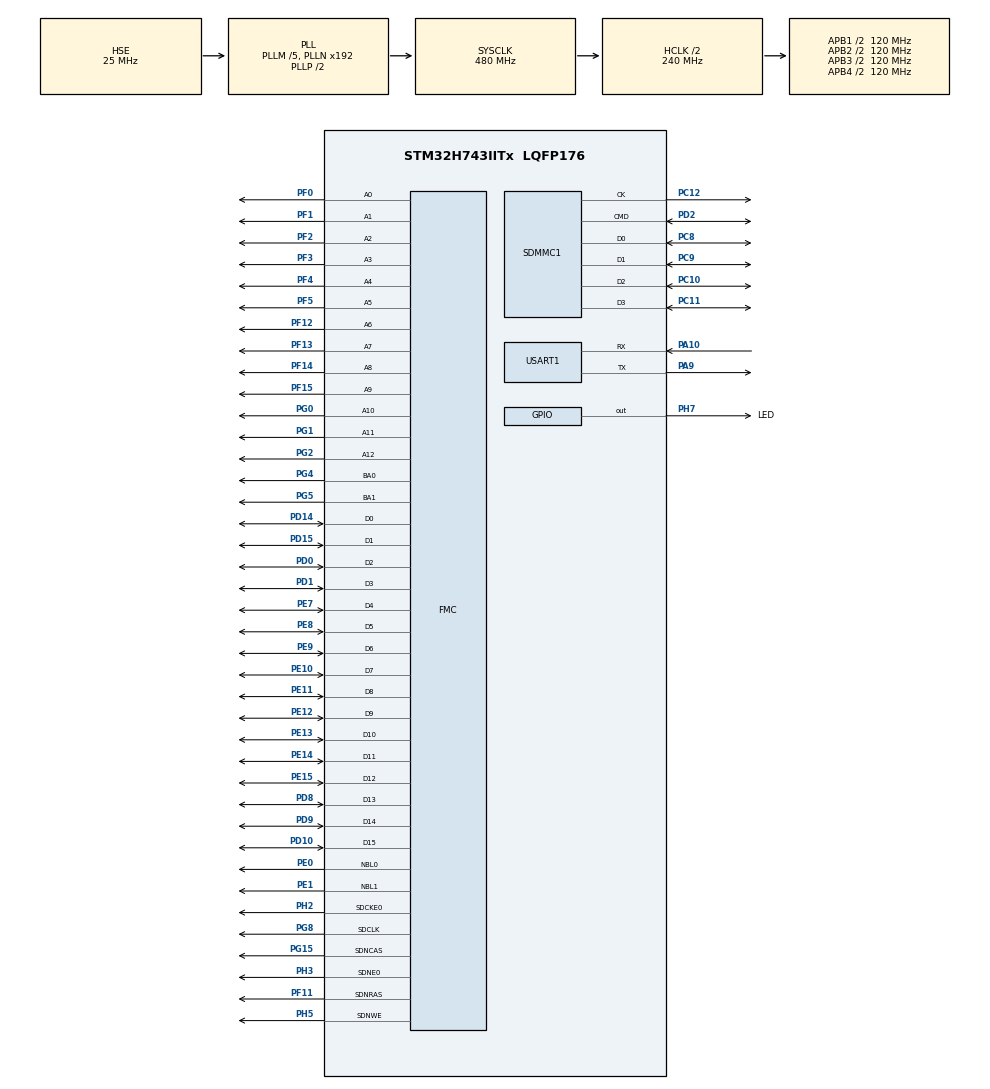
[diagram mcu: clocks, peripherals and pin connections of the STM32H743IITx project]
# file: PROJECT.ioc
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FATFS.USE_DMA_CODE_SD=1
FATFS._CODE_PAGE=936
FATFS._USE_LFN=2
FATFS._VOLUMES=1
FMC.CASLatency1=FMC_SDRAM_CAS_LATENCY_3
FMC.ColumnBitsNumber1=FMC_SDRAM_COLUMN_BITS_NUM_9
FMC.ExitSelfRefreshDelay1=7
FMC.LoadToActiveDelay1=2
FMC.RCDDelay1=2
FMC.RPDelay1=2
FMC.ReadBurst1=FMC_SDRAM_RBURST_ENABLE
FMC.ReadPipeDelay1=FMC_SDRAM_RPIPE_DELAY_1
FMC.RowCycleDelay1=7
FMC.RowCycleDelay2=7
FMC.SDClockPeriod1=FMC_SDRAM_CLOCK_PERIOD_2
FMC.SelfRefreshTime1=4
FMC.WriteRecoveryTime1=6
Mcu.Family=STM32H7
Mcu.Name=STM32H743IITx
Mcu.Package=LQFP176
Mdma.MDMA_Channel0.Request0=SDMMC1_END_DATA
Mdma.MDMA_Channel0.RequestsNb=1
Mdma.MDMA_Channel0.SDMMC1_END_DATA.0.BlockCount=0
Mdma.MDMA_Channel0.SDMMC1_END_DATA.0.BlockDataLength=0
Mdma.MDMA_Channel0.SDMMC1_END_DATA.0.BufferTransferLength=1
Mdma.MDMA_Channel0.SDMMC1_END_DATA.0.CircularMode=MDMA_LINEAR_LIST
Mdma.MDMA_Channel0.SDMMC1_END_DATA.0.DataAlignment=MDMA_DATAALIGN_PACKENABLE
Mdma.MDMA_Channel0.SDMMC1_END_DATA.0.DestBlockAddressOffset=0
Mdma.MDMA_Channel0.SDMMC1_END_DATA.0.DestBurst=MDMA_DEST_BURST_SINGLE
Mdma.MDMA_Channel0.SDMMC1_END_DATA.0.DestDataSize=MDMA_DEST_DATASIZE_BYTE
Mdma.MDMA_Channel0.SDMMC1_END_DATA.0.DestinationInc=MDMA_DEST_INC_BYTE
Mdma.MDMA_Channel0.SDMMC1_END_DATA.0.DstAddress=0
Mdma.MDMA_Channel0.SDMMC1_END_DATA.0.Endianness=MDMA_LITTLE_ENDIANNESS_PRESERVE
Mdma.MDMA_Channel0.SDMMC1_END_DATA.0.Instance=MDMA_Channel0
Mdma.MDMA_Channel0.SDMMC1_END_DATA.0.MaskAddress=0
Mdma.MDMA_Channel0.SDMMC1_END_DATA.0.MaskData=0
Mdma.MDMA_Channel0.SDMMC1_END_DATA.0.Priority=MDMA_PRIORITY_LOW
Mdma.MDMA_Channel0.SDMMC1_END_DATA.0.Rank=First
Mdma.MDMA_Channel0.SDMMC1_END_DATA.0.SourceBlockAddressOffset=0
Mdma.MDMA_Channel0.SDMMC1_END_DATA.0.SourceBurst=MDMA_SOURCE_BURST_SINGLE
Mdma.MDMA_Channel0.SDMMC1_END_DATA.0.SourceDataSize=MDMA_SRC_DATASIZE_BYTE
Mdma.MDMA_Channel0.SDMMC1_END_DATA.0.SourceInc=MDMA_SRC_INC_BYTE
Mdma.MDMA_Channel0.SDMMC1_END_DATA.0.SrcAddress=0
Mdma.MDMA_Channel0.SDMMC1_END_DATA.0.TransferTriggerMode=MDMA_BUFFER_TRANSFER
Mdma.RequestSet0=MDMA_Channel0
Mdma.RequestSetsNb=1
NVIC.MDMA_IRQn=true\:0\:0\:false\:false\:true\:false\:true\:true
NVIC.PriorityGroup=NVIC_PRIORITYGROUP_4
NVIC.SDMMC1_IRQn=true\:0\:0\:false\:false\:true\:true\:true\:true
NVIC.USART1_IRQn=true\:0\:0\:false\:false\:true\:true\:true\:true
PA10.Mode=Asynchronous
PA10.Signal=USART1_RX
PA13\ (JTMS/SWDIO).Mode=Serial_Wire
PA13\ (JTMS/SWDIO).Signal=DEBUG_JTMS-SWDIO
PA14\ (JTCK/SWCLK).Mode=Serial_Wire
PA14\ (JTCK/SWCLK).Signal=DEBUG_JTCK-SWCLK
PA9.Mode=Asynchronous
PA9.Signal=USART1_TX
PC10.GPIO_PuPd=GPIO_PULLUP
PC10.Mode=SD_4_bits_Wide_bus
PC10.Signal=SDMMC1_D2
PC11.GPIO_PuPd=GPIO_PULLUP
PC11.Mode=SD_4_bits_Wide_bus
PC11.Signal=SDMMC1_D3
PC12.GPIO_PuPd=GPIO_PULLUP
PC12.Mode=SD_4_bits_Wide_bus
PC12.Signal=SDMMC1_CK
PC8.GPIO_PuPd=GPIO_PULLUP
PC8.Mode=SD_4_bits_Wide_bus
PC8.Signal=SDMMC1_D0
PC9.GPIO_PuPd=GPIO_PULLUP
PC9.Mode=SD_4_bits_Wide_bus
PC9.Signal=SDMMC1_D1
PD0.Signal=FMC_D2_DA2
PD1.Signal=FMC_D3_DA3
PD10.Signal=FMC_D15_DA15
PD14.Signal=FMC_D0_DA0
PD15.Signal=FMC_D1_DA1
PD2.GPIO_PuPd=GPIO_PULLUP
PD2.Mode=SD_4_bits_Wide_bus
PD2.Signal=SDMMC1_CMD
PD8.Signal=FMC_D13_DA13
PD9.Signal=FMC_D14_DA14
PE0.Signal=FMC_NBL0
PE1.Signal=FMC_NBL1
PE10.Signal=FMC_D7_DA7
PE11.Signal=FMC_D8_DA8
PE12.Signal=FMC_D9_DA9
PE13.Signal=FMC_D10_DA10
PE14.Signal=FMC_D11_DA11
PE15.Signal=FMC_D12_DA12
PE7.Signal=FMC_D4_DA4
PE8.Signal=FMC_D5_DA5
PE9.Signal=FMC_D6_DA6
PF0.Signal=FMC_A0
PF1.Signal=FMC_A1
PF11.Signal=FMC_SDNRAS
PF12.Signal=FMC_A6
PF13.Signal=FMC_A7
PF14.Signal=FMC_A8
PF15.Signal=FMC_A9
PF2.Signal=FMC_A2
PF3.Signal=FMC_A3
PF4.Signal=FMC_A4
PF5.Signal=FMC_A5
PG0.Signal=FMC_A10
PG1.Signal=FMC_A11
PG15.Signal=FMC_SDNCAS
PG2.Signal=FMC_A12
PG4.Signal=FMC_A14_BA0
PG5.Signal=FMC_A15_BA1
PG8.Signal=FMC_SDCLK
PH0-OSC_IN\ (PH0).Mode=HSE-External-Oscillator
PH0-OSC_IN\ (PH0).Signal=RCC_OSC_IN
PH1-OSC_OUT\ (PH1).Mode=HSE-External-Oscillator
PH1-OSC_OUT\ (PH1).Signal=RCC_OSC_OUT
PH2.Mode=SdramChipSelect1_1
PH2.Signal=FMC_SDCKE0
PH3.Mode=SdramChipSelect1_1
PH3.Signal=FMC_SDNE0
PH5.Signal=FMC_SDNWE
PH7.GPIO_Label=LED
PH7.GPIO_PuPd=GPIO_PULLUP
PH7.GPIO_Speed=GPIO_SPEED_FREQ_VERY_HIGH
PH7.Signal=GPIO_Output
ProjectManager.HeapSize=0x1000
ProjectManager.StackSize=0x1000
ProjectManager.TargetToolchain=MDK-ARM V5.32
RCC.ADCFreq_Value=37500000
RCC.APB1Freq_Value=120000000
RCC.APB2Freq_Value=120000000
RCC.APB3Freq_Value=120000000
RCC.APB4Freq_Value=120000000
RCC.CortexFreq_Value=480000000
RCC.D1PPRE=RCC_APB3_DIV2
RCC.D2PPRE1=RCC_APB1_DIV2
RCC.D2PPRE2=RCC_APB2_DIV2
RCC.D3PPRE=RCC_APB4_DIV2
RCC.DIVM1=5
RCC.DIVM2=4
RCC.DIVN1=192
RCC.DIVN2=12
RCC.DIVQ1=4
RCC.DIVR2=4
RCC.FMCCLockSelection=RCC_FMCCLKSOURCE_PLL
RCC.HCLKFreq_Value=240000000
RCC.HPRE=RCC_HCLK_DIV2
RCC.PLL2FRACN=0
RCC.PLL3FRACN=0
RCC.PLLFRACN=0
RCC.PLLSourceVirtual=RCC_PLLSOURCE_HSE
RCC.SYSCLKFreq_VALUE=480000000
RCC.SYSCLKSource=RCC_SYSCLKSOURCE_PLLCLK
RCC.USBFreq_Value=240000000
SDMMC1.ClockDiv=8
SH.FMC_A0.0=FMC_A0,13b-sda1
SH.FMC_A1.0=FMC_A1,13b-sda1
SH.FMC_A10.0=FMC_A10,13b-sda1
SH.FMC_A11.0=FMC_A11,13b-sda1
SH.FMC_A12.0=FMC_A12,13b-sda1
SH.FMC_A14_BA0.0=FMC_BA0,FourSdramBanks1
SH.FMC_A15_BA1.0=FMC_BA1,FourSdramBanks1
SH.FMC_A2.0=FMC_A2,13b-sda1
SH.FMC_A3.0=FMC_A3,13b-sda1
SH.FMC_A4.0=FMC_A4,13b-sda1
SH.FMC_A5.0=FMC_A5,13b-sda1
SH.FMC_A6.0=FMC_A6,13b-sda1
SH.FMC_A7.0=FMC_A7,13b-sda1
SH.FMC_A8.0=FMC_A8,13b-sda1
SH.FMC_A9.0=FMC_A9,13b-sda1
SH.FMC_D0_DA0.0=FMC_D0,sd-16b-d1
SH.FMC_D10_DA10.0=FMC_D10,sd-16b-d1
SH.FMC_D11_DA11.0=FMC_D11,sd-16b-d1
SH.FMC_D12_DA12.0=FMC_D12,sd-16b-d1
SH.FMC_D13_DA13.0=FMC_D13,sd-16b-d1
SH.FMC_D14_DA14.0=FMC_D14,sd-16b-d1
SH.FMC_D15_DA15.0=FMC_D15,sd-16b-d1
SH.FMC_D1_DA1.0=FMC_D1,sd-16b-d1
SH.FMC_D2_DA2.0=FMC_D2,sd-16b-d1
SH.FMC_D3_DA3.0=FMC_D3,sd-16b-d1
SH.FMC_D4_DA4.0=FMC_D4,sd-16b-d1
SH.FMC_D5_DA5.0=FMC_D5,sd-16b-d1
SH.FMC_D6_DA6.0=FMC_D6,sd-16b-d1
SH.FMC_D7_DA7.0=FMC_D7,sd-16b-d1
SH.FMC_D8_DA8.0=FMC_D8,sd-16b-d1
SH.FMC_D9_DA9.0=FMC_D9,sd-16b-d1
SH.FMC_NBL0.0=FMC_NBL0,Sd2ByteEnable1
SH.FMC_NBL1.0=FMC_NBL1,Sd2ByteEnable1
SH.FMC_SDCLK.0=FMC_SDCLK,13b-sda1
SH.FMC_SDNCAS.0=FMC_SDNCAS,13b-sda1
SH.FMC_SDNRAS.0=FMC_SDNRAS,13b-sda1
SH.FMC_SDNWE.0=FMC_SDNWE,13b-sda1
USART1.VirtualMode-Asynchronous=VM_ASYNC
VP_FATFS_VS_SDIO.Mode=SDIO
board=custom

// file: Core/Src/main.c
/* USER CODE BEGIN Header */
/**
  ******************************************************************************
  * @file           : main.c
  * @brief          : Main program body
  ******************************************************************************
  * @attention
  *
  * Copyright (c) 2024 STMicroelectronics.
  * All rights reserved.
  *
  * This software is licensed under terms that can be found in the LICENSE file
  * in the root directory of this software component.
  * If no LICENSE file comes with this software, it is provided AS-IS.
  *
  ******************************************************************************
  */
/* USER CODE END Header */
#include "main.h"
#include "fatfs.h"
#include "mdma.h"
#include "sdmmc.h"
#include "usart.h"
#include "gpio.h"
#include "fmc.h"

/* USER CODE BEGIN Includes */
#include <stdio.h>
#include "iled.h"
#include "idelay.h"
#include "iusart.h"
#include "idisk.h"
#include "arm_math.h"

/* USER CODE END Includes */

/* USER CODE BEGIN PM */
// SDMMC/SD Card
#define	NumOf_Blocks	64
#define Test_BlockSize  ((BLOCKSIZE * NumOf_Blocks) >> 2)	 // Define the data size, the SD block size is 512 bytes, because it is a 32-bit array, so divide by 4
#define	Test_Addr 	    0x00

// DSP
#define FFT_LENGTH 1024 // FFT Length, by default 1024 points

/* USER CODE END PM */

/* USER CODE BEGIN PV */
// DSP
float fft_inputbuf[FFT_LENGTH * 2]; // FFT Input array
float fft_outputbuf[FFT_LENGTH];	// FFT Output array
/* USER CODE END PV */

void SystemClock_Config(void);

int main(void)
{
  /* USER CODE BEGIN 1 */
  // state variables
  int i;
  arm_cfft_radix4_instance_f32 scfft;
  /* USER CODE END 1 */

  /* MCU Configuration--------------------------------------------------------*/

  /* Reset of all peripherals, Initializes the Flash interface and the Systick. */
  HAL_Init();

  /* Configure the system clock */
  SystemClock_Config();

  /* Initialize all configured peripherals */
  MX_GPIO_Init();
  MX_MDMA_Init();
  MX_USART1_UART_Init();
  MX_SDMMC1_SD_Init();
  MX_FMC_Init();
  MX_FATFS_Init();
  /* USER CODE BEGIN 2 */

  // <SDRAM TEST>
	printf("\r\n[PART I: SDRAM TEST]\r\n");
  int retval;
  SDRAM_Device_Init();		// SDRAM initialization
  printf("SDRAM initialized successfully!\r\n");
  retval = SDRAM_Test();		// SDRAM test
  if(retval != SUCCESS)
  {
	printf("SDRAM test error!\r\n");
  }

  // <SD CARD TEST>
	printf("\r\n[PART II: SD CARD TEST]\r\n");

	if(Disk_Mount() < 0)
  {
    Error_Handler();
    printf("SD CARD TEST failed!");
  }
  else
  {
    printf("SD CARD TEST succeeded!");
  }

	HAL_SD_CardInfoTypeDef  SDCardInfo;
	HAL_SD_GetCardInfo(&hsd1, &SDCardInfo);//HAL_SD_CardInfoTypeDef *pCardInfo);
	printf("Card Type:%d\r\n",SDCardInfo.CardType);
	printf("Card CardVersion:%d\r\n",SDCardInfo.CardVersion);
	printf("Card RCA:%d\r\n",SDCardInfo.RelCardAdd);
	printf("Card Capacity:%d MB\r\n",(uint32_t)(SDCardInfo.LogBlockNbr)>>11);
	printf("Card BlockSize:%d\r\n\r\n",SDCardInfo.LogBlockSize);

	// <CMSIS DSP TEST>
	printf("\r\n[PART III: CMSIS DSP TEST - FFT]\r\n");
	arm_cfft_radix4_init_f32(&scfft, FFT_LENGTH, 0, 1); // init the scfft structure, set FFT related parameters

	for (i = 0; i < FFT_LENGTH; i++) // generate signal sequence
	{
		fft_inputbuf[2 * i] = 100 +
							  10 * arm_sin_f32(2 * PI * i / FFT_LENGTH) +
							  30 * arm_sin_f32(2 * PI * i * 4 / FFT_LENGTH) +
							  50 * arm_cos_f32(2 * PI * i * 8 / FFT_LENGTH); // generate input signal real part
		fft_inputbuf[2 * i + 1] = 0;										 // imaginary part is all 0
	}

	arm_cfft_radix4_f32(&scfft, fft_inputbuf); // FFT calculation (base 4)

	arm_cmplx_mag_f32(fft_inputbuf, fft_outputbuf, FFT_LENGTH); // get the amplitude value of the complex modulus of the operation result

	printf("FFT Result:\r\n");
	for (i = 0; i < FFT_LENGTH; i++)
	{
		printf("fft_outputbuf[%d]:%f\r\n", i, fft_outputbuf[i]);
	}

  /* USER CODE END 2 */

  /* Infinite loop */
  while (1)
  {

    /* USER CODE BEGIN 3 */
	LED(1);
	HAL_Delay(500);
	LED(0);
	HAL_Delay(500);
	printf("CSW INFO\r\n");

  }
  /* USER CODE END 3 */
}

void SystemClock_Config(void)
{
  RCC_OscInitTypeDef RCC_OscInitStruct = {0};
  RCC_ClkInitTypeDef RCC_ClkInitStruct = {0};

  /** Supply configuration update enable
  */
  HAL_PWREx_ConfigSupply(PWR_LDO_SUPPLY);

  /** Configure the main internal regulator output voltage
  */
  __HAL_PWR_VOLTAGESCALING_CONFIG(PWR_REGULATOR_VOLTAGE_SCALE1);

  while(!__HAL_PWR_GET_FLAG(PWR_FLAG_VOSRDY)) {}

  __HAL_RCC_SYSCFG_CLK_ENABLE();
  __HAL_PWR_VOLTAGESCALING_CONFIG(PWR_REGULATOR_VOLTAGE_SCALE0);

  while(!__HAL_PWR_GET_FLAG(PWR_FLAG_VOSRDY)) {}

  /** Initializes the RCC Oscillators according to the specified parameters
  * in the RCC_OscInitTypeDef structure.
  */
  RCC_OscInitStruct.OscillatorType = RCC_OSCILLATORTYPE_HSE;
  RCC_OscInitStruct.HSEState = RCC_HSE_ON;
  RCC_OscInitStruct.PLL.PLLState = RCC_PLL_ON;
  RCC_OscInitStruct.PLL.PLLSource = RCC_PLLSOURCE_HSE;
  RCC_OscInitStruct.PLL.PLLM = 5;
  RCC_OscInitStruct.PLL.PLLN = 192;
  RCC_OscInitStruct.PLL.PLLP = 2;
  RCC_OscInitStruct.PLL.PLLQ = 4;
  RCC_OscInitStruct.PLL.PLLR = 2;
  RCC_OscInitStruct.PLL.PLLRGE = RCC_PLL1VCIRANGE_2;
  RCC_OscInitStruct.PLL.PLLVCOSEL = RCC_PLL1VCOWIDE;
  RCC_OscInitStruct.PLL.PLLFRACN = 0;
  if (HAL_RCC_OscConfig(&RCC_OscInitStruct) != HAL_OK)
  {
    Error_Handler();
  }

  /** Initializes the CPU, AHB and APB buses clocks
  */
  RCC_ClkInitStruct.ClockType = RCC_CLOCKTYPE_HCLK|RCC_CLOCKTYPE_SYSCLK
                              |RCC_CLOCKTYPE_PCLK1|RCC_CLOCKTYPE_PCLK2
                              |RCC_CLOCKTYPE_D3PCLK1|RCC_CLOCKTYPE_D1PCLK1;
  RCC_ClkInitStruct.SYSCLKSource = RCC_SYSCLKSOURCE_PLLCLK;
  RCC_ClkInitStruct.SYSCLKDivider = RCC_SYSCLK_DIV1;
  RCC_ClkInitStruct.AHBCLKDivider = RCC_HCLK_DIV2;
  RCC_ClkInitStruct.APB3CLKDivider = RCC_APB3_DIV2;
  RCC_ClkInitStruct.APB1CLKDivider = RCC_APB1_DIV2;
  RCC_ClkInitStruct.APB2CLKDivider = RCC_APB2_DIV2;
  RCC_ClkInitStruct.APB4CLKDivider = RCC_APB4_DIV2;

  if (HAL_RCC_ClockConfig(&RCC_ClkInitStruct, FLASH_LATENCY_4) != HAL_OK)
  {
    Error_Handler();
  }
}

/* USER CODE BEGIN 4 */
int fputc(int ch, FILE *f)
{
	HAL_UART_Transmit(&huart1, (uint8_t *)&ch, 1, 1000);
	return ch;
}
/* USER CODE END 4 */

void Error_Handler(void)
{
  __disable_irq();
  while (1)
  {
  }
}
